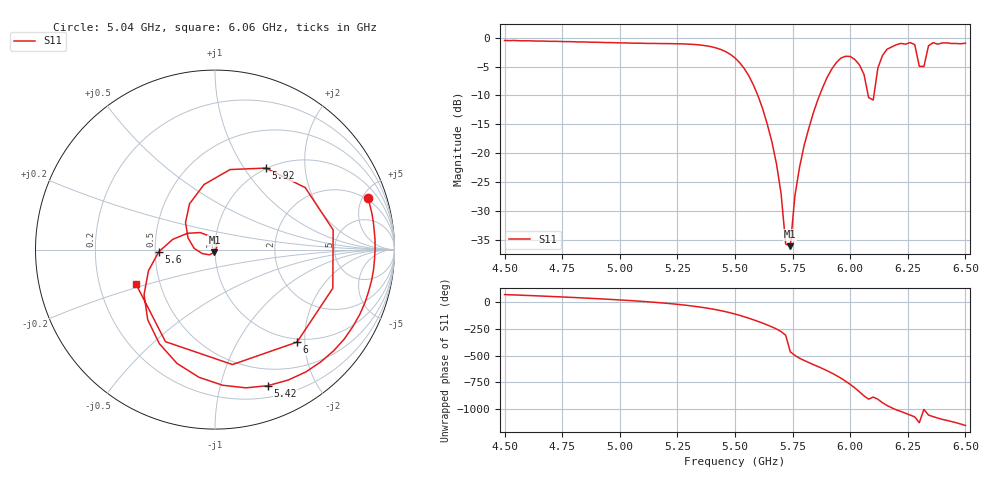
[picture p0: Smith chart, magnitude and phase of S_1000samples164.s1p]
! TOUCHSTONE file generated by CST MICROWAVE STUDIO
! Date and time: Thu Oct 27 05:29:54 2022
! Project name: L.cst
! Parameters = {Di=1.27; Epsilon_r=1.56; InnerDiameter=1.27; Length=2; Lf=10; Lg=60; OuterConductorThickness=0.2921; OuterDiameter=3.6; Wf=3; Wp=41.2; de=1.5; df=6.8; g=0.8; gx=3.59947; gy=1.474; h=2.34; hf=1.524; px=8.21193; py=13.7288; w=9.7; wx=4.61246; wy=12.2547}
! Header version: 2018
! Port assignment regex: !\s*Touchstone port\s*([0-9]+)\s*=\s*(CST MWS port|CST DS port)\s*([0-9]+|Zmin|Zmax)\s*\(\"(.*)\"\)(\s*mode\s*([0-9]+))?.*
! Touchstone port assignment:
! Touchstone port 1 = CST MWS port 1 ("")
# GHz S DB R 50
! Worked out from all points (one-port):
!   101 points, 4.5 GHz to 6.5 GHz, reference 50 ohm
!   lowest |S11| = -36.1 dB at 5.74 GHz (marker M1), VSWR 1.03, Z = 49.6 - j1.51 ohm
!   |S11| at or under -10 dB: 5.599 GHz to 5.867 GHz (267.7 MHz wide, 4.67 % of centre); 6.078108 GHz to 6.102881 GHz (24.77 MHz wide, 0.407 % of centre)
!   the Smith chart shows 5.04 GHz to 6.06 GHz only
!   S11 on the Smith chart (normalised r, x): 5.04 GHz: 1.84, +5.54; 5.42 GHz: 0.32, -1.42; 5.6 GHz: 0.52, -0.01; 5.92 GHz: 0.99, +1.26; 6 GHz: 0.94, -1.84; 6.06 GHz: 0.36, -0.18
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4.5  -0.47 74.5
4.76  -0.67 50.9
5  -0.89 23.8
5.04  -0.91 18.5
5.26  -1.05 -19.6
5.42  -1.79 -68.7
5.5  -3.50 -108.4
5.6  -10.07 -177.8
5.72  -35.78 52.1
5.74  -36.14 -102.5
5.76  -27.41 -136.9
5.86  -10.69 119.1
5.92  -5.43 58.0
5.96  -3.51 9.5
6  -3.24 -48.4
6.02  -3.77 -81.3
6.06  -6.37 -156.2
6.1  -10.80 -167.8
6.14  -3.09 139.5
6.18  -1.60 92.1
6.26  -0.83 23.9
6.28  -1.19 6.7
6.3  -4.95 -48.2
6.32  -4.98 76.8
6.34  -1.38 23.6
6.36  -0.85 8.8
6.42  -0.89 -26.4
6.5  -0.94 -73.8
